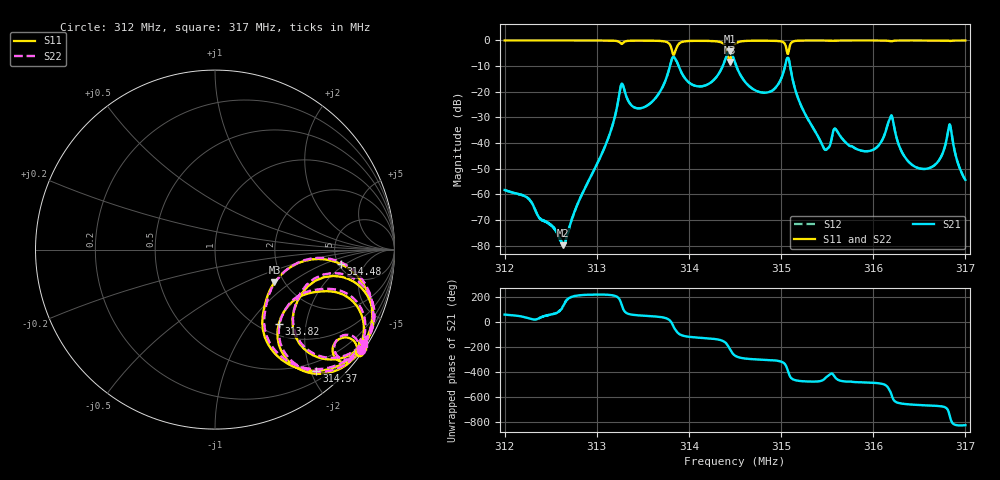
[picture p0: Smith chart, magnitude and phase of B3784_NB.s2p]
! Matrix data file written by TouchstoneData, EPCOS AG
! FILENAME: "B3784_NB.s2p"
! COMMENT: "PCB: 2009; PINNING: 25; PORTEXT1: 97ps; PORT"
! INFO: nport=2, nfreq=1601
! DATE: "Wed Jul  2 16:30:17 2008"
! USER: "Thomas Telgmann"
! port | pin | signal
!  1  |  2  |  in
!  2  |  5  |  out
# MHZ S MA R 50
! freq  magS11 angS11  magS21 angS21  magS12 angS12  magS22 angS22
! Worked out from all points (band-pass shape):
!   1601 points, 312 MHz to 317 MHz, reference 50 ohm
!   highest |S21| = -4.28 dB at 314.44 MHz (marker M1); lowest = -79.9 dB at 312.63 MHz (marker M2)
!   |S21| within 3 dB of the highest: 313.8159 MHz to 313.8519 MHz (35.99 kHz wide, 0.0115 % of centre); 314.3967 MHz to 314.486 MHz (89.32 kHz wide, 0.0284 % of centre) (the widest 2 of 3)
!   lowest |S11| = -8.4 dB at 314.44 MHz (marker M3), VSWR 2.22, Z = 89.1 - j38 ohm
!   |S11| at or under -10 dB: nowhere
!   |S22| runs from -8.4 to -0.1 dB; largest |S21 - S12| = 0.00071
!   S11 on the Smith chart (normalised r, x): 312 MHz: 0.07, -3.13; 313.82 MHz: 1.19, -1.41; 314.37 MHz: 0.35, -2.09; 314.48 MHz: 5.25, -1.69; 317 MHz: 0.09, -3.33
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312  0.9872 -35.4  0.001211 58.8  0.001214 58.7  0.9861 -34.5
312.6344  0.9867 -36.3  0.0001012 126.8  9.74e-05 126.9  0.9855 -35.3
312.8344  0.9864 -36.8  0.0009506 -146.2  0.000952 -145.7  0.9851 -35.8
313.2688  0.8465 -38.2  0.1411 139.6  0.1409 139.6  0.8448 -36.9
313.4344  0.9808 -37.4  0.04732 53.8  0.04731 53.8  0.98 -36.4
313.6687  0.9702 -42.1  0.08875 41.5  0.08865 41.5  0.9692 -41.1
313.825  0.546 -49.5  0.4661 -24.4  0.4655 -24.4  0.5436 -48.3
314.0906  0.9716 -34.8  0.1267 -124.2  0.1265 -124.2  0.9716 -33.8
314.3656  0.8804 -50.1  0.3093 -150.3  0.3089 -150.3  0.8813 -49.1
314.4438  0.378 -28.9  0.6107 145.4  0.6103 145.4  0.3816 -28.3
314.4781  0.7065 -6.6  0.476 106.0  0.4758 106.0  0.7065 -5.8
314.5  0.8359 -12.3  0.3653 91.8  0.3651 91.8  0.8368 -11.4
314.825  0.9788 -31.9  0.09493 58.1  0.09485 58.1  0.9781 -31.0
315.075  0.5414 -27.1  0.4532 -30.9  0.4527 -30.9  0.5341 -26.8
315.3344  0.9863 -29.7  0.02137 -115.0  0.02135 -115.0  0.9852 -28.7
315.4781  0.9838 -31.1  0.007341 -88.3  0.00733 -88.4  0.983 -30.2
315.5906  0.9771 -30.9  0.01869 -84.7  0.01866 -84.7  0.976 -30.0
315.9344  0.9872 -32.4  0.006868 -122.7  0.006868 -122.6  0.9863 -31.4
316.1687  0.9671 -33.5  0.02649 -173.0  0.02647 -173.0  0.9666 -32.6
316.525  0.9865 -33.0  0.003125 57.2  0.003123 57.1  0.9858 -32.0
316.8313  0.9641 -33.3  0.02274 -31.9  0.02271 -31.8  0.9628 -32.3
317  0.9849 -33.4  0.001899 -102.5  0.001899 -102.0  0.984 -32.4
